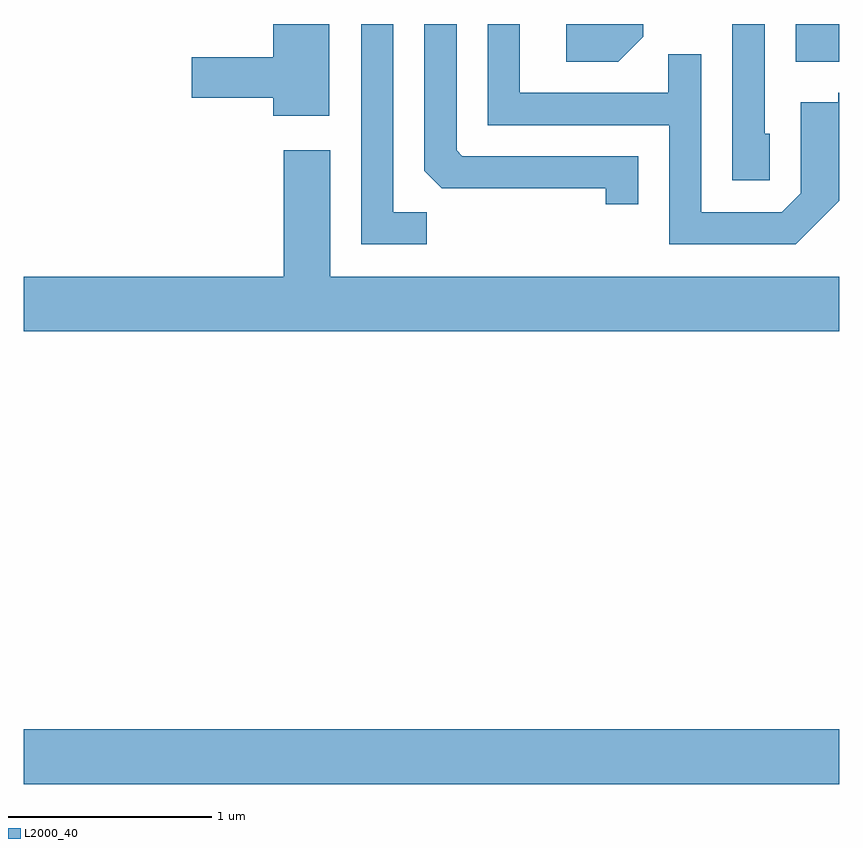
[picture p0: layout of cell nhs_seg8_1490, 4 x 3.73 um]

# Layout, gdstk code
import gdstk
lib = gdstk.Library(unit=1e-6, precision=1e-09)
def R(c, l, rs):  # rectangles x0, y0, x1, y1
    for r in rs: c.add(gdstk.rectangle(r[:2], r[2:], *l))
def P(c, l, *ps):  # polygons
    for p in ps: c.add(gdstk.Polygon(p, *l))
L2000_40 = (2000, 40)

nhs_seg8_1490 = lib.new_cell('nhs_seg8_1490')
R(nhs_seg8_1490, L2000_40, [(229.611,1858.616,233.611,1858.884), (233.396,1862.156,233.611,1862.342)])
P(nhs_seg8_1490, L2000_40, [(232.624,1861.694),(231.762,1861.694),(231.734,1861.722),(231.734,1862.342),(231.576,1862.342),(231.576,1861.622),(231.662,1861.536),(232.466,1861.536),(232.466,1861.458),(232.624,1861.458)],
  [(232.649,1862.279),(232.649,1862.342),(232.271,1862.342),(232.271,1862.156),(232.527,1862.156)],
  [(231.109,1862.342),(230.836,1862.342),(230.836,1862.179),(230.436,1862.179),(230.436,1861.981),(230.836,1861.981),(230.836,1861.891),(231.109,1861.891)],
  [(233.269,1861.804),(233.244,1861.804),(233.244,1862.342),(233.086,1862.342),(233.086,1861.576),(233.269,1861.576)],
  [(233.611,1861.475),(233.611,1862.004),(233.606,1862.004),(233.606,1861.959),(233.421,1861.959),(233.421,1861.512),(233.329,1861.419),(232.934,1861.419),(232.934,1862.193),(232.771,1862.193),(232.771,1862.004),(232.044,1862.004),(232.044,1862.342),(231.886,1862.342),(231.886,1861.846),(232.776,1861.846),(232.776,1861.261),(233.397,1861.261)],
  [(231.588,1861.419),(231.424,1861.419),(231.424,1862.342),(231.266,1862.342),(231.266,1861.261),(231.588,1861.261)],
  [(233.611,1861.104),(231.114,1861.104),(231.114,1861.724),(230.886,1861.724),(230.886,1861.104),(229.611,1861.104),(229.611,1860.836),(233.611,1860.836)])

lib.write_gds('nhs_seg8_1490.gds')
